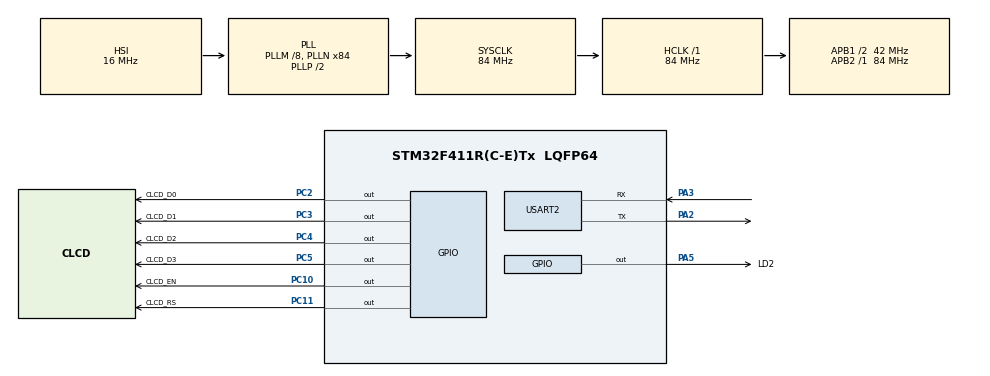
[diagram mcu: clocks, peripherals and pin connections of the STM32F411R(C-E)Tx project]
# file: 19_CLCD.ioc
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Mcu.Family=STM32F4
Mcu.Name=STM32F411R(C-E)Tx
Mcu.Package=LQFP64
NVIC.PriorityGroup=NVIC_PRIORITYGROUP_4
PA13.Mode=Serial_Wire
PA13.Signal=SYS_JTMS-SWDIO
PA14.Mode=Serial_Wire
PA14.Signal=SYS_JTCK-SWCLK
PA2.Mode=Asynchronous
PA2.Signal=USART2_TX
PA3.Mode=Asynchronous
PA3.Signal=USART2_RX
PA5.GPIO_Label=LD2
PA5.Signal=GPIO_Output
PC10.GPIO_Label=CLCD_EN
PC10.Signal=GPIO_Output
PC11.GPIO_Label=CLCD_RS
PC11.Signal=GPIO_Output
PC2.GPIO_Label=CLCD_D0
PC2.Signal=GPIO_Output
PC3.GPIO_Label=CLCD_D1
PC3.Signal=GPIO_Output
PC4.GPIO_Label=CLCD_D2
PC4.Signal=GPIO_Output
PC5.GPIO_Label=CLCD_D3
PC5.Signal=GPIO_Output
ProjectManager.HeapSize=0x200
ProjectManager.StackSize=0x400
ProjectManager.TargetToolchain=STM32CubeIDE
RCC.48MHZClocksFreq_Value=42000000
RCC.AHBFreq_Value=84000000
RCC.APB1CLKDivider=RCC_HCLK_DIV2
RCC.APB1Freq_Value=42000000
RCC.APB1TimFreq_Value=84000000
RCC.APB2Freq_Value=84000000
RCC.APB2TimFreq_Value=84000000
RCC.CortexFreq_Value=84000000
RCC.HCLKFreq_Value=84000000
RCC.HSE_VALUE=25000000
RCC.HSI_VALUE=16000000
RCC.LSE_VALUE=32768
RCC.PLLM=8
RCC.PLLN=84
RCC.SYSCLKFreq_VALUE=84000000
RCC.SYSCLKSource=RCC_SYSCLKSOURCE_PLLCLK
RCC.VCOOutputFreq_Value=168000000
USART2.VirtualMode=VM_ASYNC
board=custom

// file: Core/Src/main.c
/* USER CODE BEGIN Header */
/**
  ******************************************************************************
  * @file           : main.c
  * @brief          : Main program body
  ******************************************************************************
  * @attention
  *
  * Copyright (c) 2024 STMicroelectronics.
  * All rights reserved.
  *
  * This software is licensed under terms that can be found in the LICENSE file
  * in the root directory of this software component.
  * If no LICENSE file comes with this software, it is provided AS-IS.
  *
  ******************************************************************************
  */
/* USER CODE END Header */
#include "main.h"

/* USER CODE BEGIN Includes */
#include <stdio.h>
#include "clcd\clcd.h"
/* USER CODE END Includes */

UART_HandleTypeDef huart2;

void SystemClock_Config(void);
static void MX_GPIO_Init(void);
static void MX_USART2_UART_Init(void);

int main(void)
{

  /* MCU Configuration--------------------------------------------------------*/

  /* Reset of all peripherals, Initializes the Flash interface and the Systick. */
  HAL_Init();

  /* Configure the system clock */
  SystemClock_Config();

  /* Initialize all configured peripherals */
  MX_GPIO_Init();
  MX_USART2_UART_Init();
  /* USER CODE BEGIN 2 */
  CLCD_Init(16, 2);
  CLCD_Puts(0, 0, "NUCLEOEVB");
  CLCD_Puts(0, 1, "HEDY Co.LTD");
  HAL_Delay(1000);
  /* USER CODE END 2 */

  /* Infinite loop */
  /* USER CODE BEGIN WHILE */
  CLCD_Clear ();

  char sBuf[16] = { 0 };
  char count = 0;

  CLCD_Puts (0, 0, "NUCLEOEVB");
  while (1)
  {
      sprintf (sBuf, "Count Num = %3d", count);
      CLCD_Puts (0, 1, sBuf);

      if (count >= 100)
        count = 0;
      else
        count++;

      HAL_Delay (200);
    /* USER CODE END WHILE */

  }
}

void SystemClock_Config(void)
{
  RCC_OscInitTypeDef RCC_OscInitStruct = {0};
  RCC_ClkInitTypeDef RCC_ClkInitStruct = {0};

  /** Configure the main internal regulator output voltage
  */
  __HAL_RCC_PWR_CLK_ENABLE();
  __HAL_PWR_VOLTAGESCALING_CONFIG(PWR_REGULATOR_VOLTAGE_SCALE1);

  /** Initializes the RCC Oscillators according to the specified parameters
  * in the RCC_OscInitTypeDef structure.
  */
  RCC_OscInitStruct.OscillatorType = RCC_OSCILLATORTYPE_HSI;
  RCC_OscInitStruct.HSIState = RCC_HSI_ON;
  RCC_OscInitStruct.HSICalibrationValue = RCC_HSICALIBRATION_DEFAULT;
  RCC_OscInitStruct.PLL.PLLState = RCC_PLL_ON;
  RCC_OscInitStruct.PLL.PLLSource = RCC_PLLSOURCE_HSI;
  RCC_OscInitStruct.PLL.PLLM = 8;
  RCC_OscInitStruct.PLL.PLLN = 84;
  RCC_OscInitStruct.PLL.PLLP = RCC_PLLP_DIV2;
  RCC_OscInitStruct.PLL.PLLQ = 4;
  if (HAL_RCC_OscConfig(&RCC_OscInitStruct) != HAL_OK)
  {
    Error_Handler();
  }

  /** Initializes the CPU, AHB and APB buses clocks
  */
  RCC_ClkInitStruct.ClockType = RCC_CLOCKTYPE_HCLK|RCC_CLOCKTYPE_SYSCLK
                              |RCC_CLOCKTYPE_PCLK1|RCC_CLOCKTYPE_PCLK2;
  RCC_ClkInitStruct.SYSCLKSource = RCC_SYSCLKSOURCE_PLLCLK;
  RCC_ClkInitStruct.AHBCLKDivider = RCC_SYSCLK_DIV1;
  RCC_ClkInitStruct.APB1CLKDivider = RCC_HCLK_DIV2;
  RCC_ClkInitStruct.APB2CLKDivider = RCC_HCLK_DIV1;

  if (HAL_RCC_ClockConfig(&RCC_ClkInitStruct, FLASH_LATENCY_2) != HAL_OK)
  {
    Error_Handler();
  }
}

static void MX_USART2_UART_Init(void)
{

  huart2.Instance = USART2;
  huart2.Init.BaudRate = 115200;
  huart2.Init.WordLength = UART_WORDLENGTH_8B;
  huart2.Init.StopBits = UART_STOPBITS_1;
  huart2.Init.Parity = UART_PARITY_NONE;
  huart2.Init.Mode = UART_MODE_TX_RX;
  huart2.Init.HwFlowCtl = UART_HWCONTROL_NONE;
  huart2.Init.OverSampling = UART_OVERSAMPLING_16;
  if (HAL_UART_Init(&huart2) != HAL_OK)
  {
    Error_Handler();
  }

}

static void MX_GPIO_Init(void)
{
  GPIO_InitTypeDef GPIO_InitStruct = {0};

  /* GPIO Ports Clock Enable */
  __HAL_RCC_GPIOC_CLK_ENABLE();
  __HAL_RCC_GPIOA_CLK_ENABLE();

  /*Configure GPIO pin Output Level */
  HAL_GPIO_WritePin(GPIOC, CLCD_D0_Pin|CLCD_D1_Pin|CLCD_D2_Pin|CLCD_D3_Pin
                          |CLCD_EN_Pin|CLCD_RS_Pin, GPIO_PIN_RESET);

  /*Configure GPIO pin Output Level */
  HAL_GPIO_WritePin(LD2_GPIO_Port, LD2_Pin, GPIO_PIN_RESET);

  /*Configure GPIO pins : CLCD_D0_Pin CLCD_D1_Pin CLCD_D2_Pin CLCD_D3_Pin
                           CLCD_EN_Pin CLCD_RS_Pin */
  GPIO_InitStruct.Pin = CLCD_D0_Pin|CLCD_D1_Pin|CLCD_D2_Pin|CLCD_D3_Pin
                          |CLCD_EN_Pin|CLCD_RS_Pin;
  GPIO_InitStruct.Mode = GPIO_MODE_OUTPUT_PP;
  GPIO_InitStruct.Pull = GPIO_NOPULL;
  GPIO_InitStruct.Speed = GPIO_SPEED_FREQ_LOW;
  HAL_GPIO_Init(GPIOC, &GPIO_InitStruct);

  /*Configure GPIO pin : LD2_Pin */
  GPIO_InitStruct.Pin = LD2_Pin;
  GPIO_InitStruct.Mode = GPIO_MODE_OUTPUT_PP;
  GPIO_InitStruct.Pull = GPIO_NOPULL;
  GPIO_InitStruct.Speed = GPIO_SPEED_FREQ_LOW;
  HAL_GPIO_Init(LD2_GPIO_Port, &GPIO_InitStruct);

}

void Error_Handler(void)
{
  __disable_irq();
  while (1)
  {
  }
}
